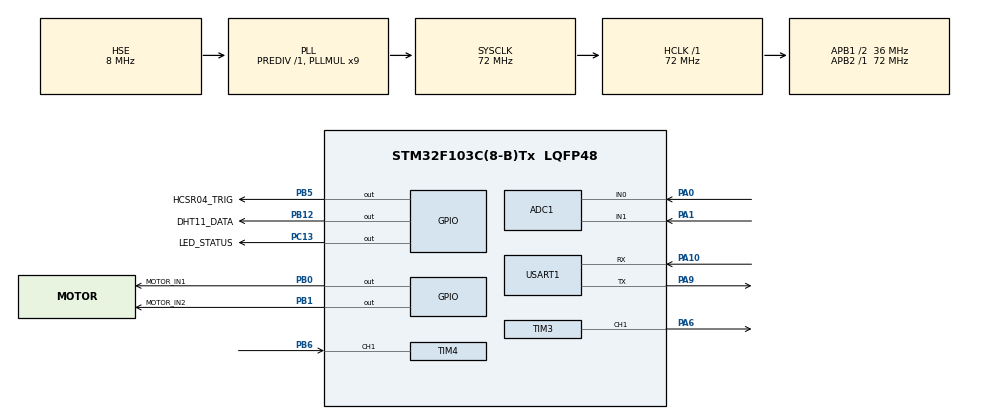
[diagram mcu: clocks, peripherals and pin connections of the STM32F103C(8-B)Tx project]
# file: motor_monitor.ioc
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ADC1.Channel-0\#ChannelRegularConversion=ADC_CHANNEL_0
ADC1.NbrOfConversionFlag=1
ADC1.Rank-0\#ChannelRegularConversion=1
ADC1.SamplingTime-0\#ChannelRegularConversion=ADC_SAMPLETIME_1CYCLE_5
ADC1.master=1
Mcu.Family=STM32F1
Mcu.Name=STM32F103C(8-B)Tx
Mcu.Package=LQFP48
NVIC.PriorityGroup=NVIC_PRIORITYGROUP_4
NVIC.TIM4_IRQn=true\:0\:0\:false\:false\:true\:true\:true\:true
NVIC.USART1_IRQn=true\:0\:0\:false\:false\:true\:true\:true\:true
PA0-WKUP.Signal=ADCx_IN0
PA1.Signal=ADCx_IN1
PA10.Mode=Asynchronous
PA10.Signal=USART1_RX
PA13.Mode=Serial_Wire
PA13.Signal=SYS_JTMS-SWDIO
PA14.Mode=Serial_Wire
PA14.Signal=SYS_JTCK-SWCLK
PA6.Signal=S_TIM3_CH1
PA9.Mode=Asynchronous
PA9.Signal=USART1_TX
PB0.GPIO_Label=MOTOR_IN1
PB0.Signal=GPIO_Output
PB1.GPIO_Label=MOTOR_IN2
PB1.Signal=GPIO_Output
PB12.GPIO_Label=DHT11_DATA
PB12.PinState=GPIO_PIN_SET
PB12.Signal=GPIO_Output
PB5.GPIO_Label=HCSR04_TRIG
PB5.Signal=GPIO_Output
PB6.Signal=S_TIM4_CH1
PC13-TAMPER-RTC.GPIO_Label=LED_STATUS
PC13-TAMPER-RTC.Signal=GPIO_Output
PD0-OSC_IN.Mode=HSE-External-Oscillator
PD0-OSC_IN.Signal=RCC_OSC_IN
PD1-OSC_OUT.Mode=HSE-External-Oscillator
PD1-OSC_OUT.Signal=RCC_OSC_OUT
ProjectManager.HeapSize=0x200
ProjectManager.StackSize=0x400
ProjectManager.TargetToolchain=MDK-ARM V5.32
RCC.ADCPresc=RCC_ADCPCLK2_DIV6
RCC.AHBFreq_Value=72000000
RCC.APB1CLKDivider=RCC_HCLK_DIV2
RCC.APB1Freq_Value=36000000
RCC.APB1TimFreq_Value=72000000
RCC.APB2Freq_Value=72000000
RCC.APB2TimFreq_Value=72000000
RCC.HCLKFreq_Value=72000000
RCC.PLLMUL=RCC_PLL_MUL9
RCC.PLLSourceVirtual=RCC_PLLSOURCE_HSE
RCC.SYSCLKFreq_VALUE=72000000
RCC.SYSCLKSource=RCC_SYSCLKSOURCE_PLLCLK
RCC.USBFreq_Value=72000000
SH.ADCx_IN0.0=ADC1_IN0,IN0
SH.ADCx_IN1.0=ADC1_IN1,IN1
SH.S_TIM3_CH1.0=TIM3_CH1,PWM Generation1 CH1
SH.S_TIM4_CH1.0=TIM4_CH1,Input_Capture1_from_TI1
TIM2.Prescaler=71
TIM3.Channel-PWM\ Generation1\ CH1=TIM_CHANNEL_1
TIM4.Channel-Input_Capture1_from_TI1=TIM_CHANNEL_1
TIM4.Prescaler=71
USART1.VirtualMode=VM_ASYNC
VP_TIM2_VS_ClockSourceINT.Mode=Internal
board=custom

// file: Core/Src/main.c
/* USER CODE BEGIN Header */
/**
  ******************************************************************************
  * @file           : main.c
  * @brief          : Main program body
  ******************************************************************************
  * @attention
  *
  * Copyright (c) 2026 STMicroelectronics.
  * All rights reserved.
  *
  * This software is licensed under terms that can be found in the LICENSE file
  * in the root directory of this software component.
  * If no LICENSE file comes with this software, it is provided AS-IS.
  *
  ******************************************************************************
  */
/* USER CODE END Header */
#include "main.h"

/* USER CODE BEGIN Includes */
#include "logger.h"
#include "app.h"
#include <string.h>
#include "logger.h"
#include "cli.h"
#include "dht11.h"
#include "sensor_manager.h"
#include "fault_manager.h"
#include "light_sensor.h"
#include "hcsr04.h"
#include "distance_manager.h"
#include "acs712.h"

#include "motor_driver.h"
#include "motor_manager.h"
/* USER CODE END Includes */

ADC_HandleTypeDef hadc1;

TIM_HandleTypeDef htim2;
TIM_HandleTypeDef htim3;
TIM_HandleTypeDef htim4;

UART_HandleTypeDef huart1;

void SystemClock_Config(void);
static void MX_GPIO_Init(void);
static void MX_USART1_UART_Init(void);
static void MX_TIM2_Init(void);
static void MX_ADC1_Init(void);
static void MX_TIM3_Init(void);
static void MX_TIM4_Init(void);

int main(void)
{

  /* MCU Configuration--------------------------------------------------------*/

  /* Reset of all peripherals, Initializes the Flash interface and the Systick. */
  HAL_Init();

  /* Configure the system clock */
  SystemClock_Config();

  /* Initialize all configured peripherals */
  MX_GPIO_Init();
  MX_USART1_UART_Init();
  MX_TIM2_Init();
  MX_ADC1_Init();
  MX_TIM3_Init();
  MX_TIM4_Init();
  /* USER CODE BEGIN 2 */
  /* STM32F1 ADC calibration: after HAL_ADC_Init, before ADC reads. */
  if (HAL_ADCEx_Calibration_Start(&hadc1) != HAL_OK)
  {
    Error_Handler();
  }

	Logger_Init(&huart1);

	DHT11_Init(&htim2);

	LightSensor_Init(&hadc1);

	ACS712_Init(&hadc1);

	SensorManager_Init();

	FaultManager_Init();

	MotorDriver_Init(
    &htim3,
    TIM_CHANNEL_1
	);
	MotorManager_Init();

	HCSR04_Init();
	DistanceManager_Init();

  App_Init();

  CLI_Init(&huart1);
  /* USER CODE END 2 */

  /* Infinite loop */
  while (1)
  {

    /* USER CODE BEGIN 3 */
		App_Run();

		SensorManager_Process();

		FaultManager_Process();

		MotorManager_Process();

		DistanceManager_Process();

		CLI_Process();
  }
  /* USER CODE END 3 */
}

void SystemClock_Config(void)
{
  RCC_OscInitTypeDef RCC_OscInitStruct = {0};
  RCC_ClkInitTypeDef RCC_ClkInitStruct = {0};
  RCC_PeriphCLKInitTypeDef PeriphClkInit = {0};

  /** Initializes the RCC Oscillators according to the specified parameters
  * in the RCC_OscInitTypeDef structure.
  */
  RCC_OscInitStruct.OscillatorType = RCC_OSCILLATORTYPE_HSE;
  RCC_OscInitStruct.HSEState = RCC_HSE_ON;
  RCC_OscInitStruct.HSEPredivValue = RCC_HSE_PREDIV_DIV1;
  RCC_OscInitStruct.HSIState = RCC_HSI_ON;
  RCC_OscInitStruct.PLL.PLLState = RCC_PLL_ON;
  RCC_OscInitStruct.PLL.PLLSource = RCC_PLLSOURCE_HSE;
  RCC_OscInitStruct.PLL.PLLMUL = RCC_PLL_MUL9;
  if (HAL_RCC_OscConfig(&RCC_OscInitStruct) != HAL_OK)
  {
    Error_Handler();
  }

  /** Initializes the CPU, AHB and APB buses clocks
  */
  RCC_ClkInitStruct.ClockType = RCC_CLOCKTYPE_HCLK|RCC_CLOCKTYPE_SYSCLK
                              |RCC_CLOCKTYPE_PCLK1|RCC_CLOCKTYPE_PCLK2;
  RCC_ClkInitStruct.SYSCLKSource = RCC_SYSCLKSOURCE_PLLCLK;
  RCC_ClkInitStruct.AHBCLKDivider = RCC_SYSCLK_DIV1;
  RCC_ClkInitStruct.APB1CLKDivider = RCC_HCLK_DIV2;
  RCC_ClkInitStruct.APB2CLKDivider = RCC_HCLK_DIV1;

  if (HAL_RCC_ClockConfig(&RCC_ClkInitStruct, FLASH_LATENCY_2) != HAL_OK)
  {
    Error_Handler();
  }
  PeriphClkInit.PeriphClockSelection = RCC_PERIPHCLK_ADC;
  PeriphClkInit.AdcClockSelection = RCC_ADCPCLK2_DIV6;
  if (HAL_RCCEx_PeriphCLKConfig(&PeriphClkInit) != HAL_OK)
  {
    Error_Handler();
  }
}

static void MX_ADC1_Init(void)
{

  ADC_ChannelConfTypeDef sConfig = {0};

  /** Common config
  */
  hadc1.Instance = ADC1;
  hadc1.Init.ScanConvMode = ADC_SCAN_DISABLE;
  hadc1.Init.ContinuousConvMode = DISABLE;
  hadc1.Init.DiscontinuousConvMode = DISABLE;
  hadc1.Init.ExternalTrigConv = ADC_SOFTWARE_START;
  hadc1.Init.DataAlign = ADC_DATAALIGN_RIGHT;
  hadc1.Init.NbrOfConversion = 1;
  if (HAL_ADC_Init(&hadc1) != HAL_OK)
  {
    Error_Handler();
  }

  /** Configure Regular Channel
  */
  sConfig.Channel = ADC_CHANNEL_0;
  sConfig.Rank = ADC_REGULAR_RANK_1;
  sConfig.SamplingTime = ADC_SAMPLETIME_1CYCLE_5;
  if (HAL_ADC_ConfigChannel(&hadc1, &sConfig) != HAL_OK)
  {
    Error_Handler();
  }

}

static void MX_TIM2_Init(void)
{

  TIM_ClockConfigTypeDef sClockSourceConfig = {0};
  TIM_MasterConfigTypeDef sMasterConfig = {0};

  htim2.Instance = TIM2;
  htim2.Init.Prescaler = 71;
  htim2.Init.CounterMode = TIM_COUNTERMODE_UP;
  htim2.Init.Period = 65535;
  htim2.Init.ClockDivision = TIM_CLOCKDIVISION_DIV1;
  htim2.Init.AutoReloadPreload = TIM_AUTORELOAD_PRELOAD_DISABLE;
  if (HAL_TIM_Base_Init(&htim2) != HAL_OK)
  {
    Error_Handler();
  }
  sClockSourceConfig.ClockSource = TIM_CLOCKSOURCE_INTERNAL;
  if (HAL_TIM_ConfigClockSource(&htim2, &sClockSourceConfig) != HAL_OK)
  {
    Error_Handler();
  }
  sMasterConfig.MasterOutputTrigger = TIM_TRGO_RESET;
  sMasterConfig.MasterSlaveMode = TIM_MASTERSLAVEMODE_DISABLE;
  if (HAL_TIMEx_MasterConfigSynchronization(&htim2, &sMasterConfig) != HAL_OK)
  {
    Error_Handler();
  }

}

static void MX_TIM3_Init(void)
{

  TIM_MasterConfigTypeDef sMasterConfig = {0};
  TIM_OC_InitTypeDef sConfigOC = {0};

  htim3.Instance = TIM3;
  htim3.Init.Prescaler = 0;
  htim3.Init.CounterMode = TIM_COUNTERMODE_UP;
  htim3.Init.Period = 65535;
  htim3.Init.ClockDivision = TIM_CLOCKDIVISION_DIV1;
  htim3.Init.AutoReloadPreload = TIM_AUTORELOAD_PRELOAD_DISABLE;
  if (HAL_TIM_PWM_Init(&htim3) != HAL_OK)
  {
    Error_Handler();
  }
  sMasterConfig.MasterOutputTrigger = TIM_TRGO_RESET;
  sMasterConfig.MasterSlaveMode = TIM_MASTERSLAVEMODE_DISABLE;
  if (HAL_TIMEx_MasterConfigSynchronization(&htim3, &sMasterConfig) != HAL_OK)
  {
    Error_Handler();
  }
  sConfigOC.OCMode = TIM_OCMODE_PWM1;
  sConfigOC.Pulse = 0;
  sConfigOC.OCPolarity = TIM_OCPOLARITY_HIGH;
  sConfigOC.OCFastMode = TIM_OCFAST_DISABLE;
  if (HAL_TIM_PWM_ConfigChannel(&htim3, &sConfigOC, TIM_CHANNEL_1) != HAL_OK)
  {
    Error_Handler();
  }
  HAL_TIM_MspPostInit(&htim3);

}

static void MX_TIM4_Init(void)
{

  TIM_MasterConfigTypeDef sMasterConfig = {0};
  TIM_IC_InitTypeDef sConfigIC = {0};

  htim4.Instance = TIM4;
  htim4.Init.Prescaler = 71;
  htim4.Init.CounterMode = TIM_COUNTERMODE_UP;
  htim4.Init.Period = 65535;
  htim4.Init.ClockDivision = TIM_CLOCKDIVISION_DIV1;
  htim4.Init.AutoReloadPreload = TIM_AUTORELOAD_PRELOAD_DISABLE;
  if (HAL_TIM_IC_Init(&htim4) != HAL_OK)
  {
    Error_Handler();
  }
  sMasterConfig.MasterOutputTrigger = TIM_TRGO_RESET;
  sMasterConfig.MasterSlaveMode = TIM_MASTERSLAVEMODE_DISABLE;
  if (HAL_TIMEx_MasterConfigSynchronization(&htim4, &sMasterConfig) != HAL_OK)
  {
    Error_Handler();
  }
  sConfigIC.ICPolarity = TIM_INPUTCHANNELPOLARITY_RISING;
  sConfigIC.ICSelection = TIM_ICSELECTION_DIRECTTI;
  sConfigIC.ICPrescaler = TIM_ICPSC_DIV1;
  sConfigIC.ICFilter = 0;
  if (HAL_TIM_IC_ConfigChannel(&htim4, &sConfigIC, TIM_CHANNEL_1) != HAL_OK)
  {
    Error_Handler();
  }

}

static void MX_USART1_UART_Init(void)
{

  huart1.Instance = USART1;
  huart1.Init.BaudRate = 115200;
  huart1.Init.WordLength = UART_WORDLENGTH_8B;
  huart1.Init.StopBits = UART_STOPBITS_1;
  huart1.Init.Parity = UART_PARITY_NONE;
  huart1.Init.Mode = UART_MODE_TX_RX;
  huart1.Init.HwFlowCtl = UART_HWCONTROL_NONE;
  huart1.Init.OverSampling = UART_OVERSAMPLING_16;
  if (HAL_UART_Init(&huart1) != HAL_OK)
  {
    Error_Handler();
  }

}

static void MX_GPIO_Init(void)
{
  GPIO_InitTypeDef GPIO_InitStruct = {0};

  /* GPIO Ports Clock Enable */
  __HAL_RCC_GPIOC_CLK_ENABLE();
  __HAL_RCC_GPIOD_CLK_ENABLE();
  __HAL_RCC_GPIOA_CLK_ENABLE();
  __HAL_RCC_GPIOB_CLK_ENABLE();

  /*Configure GPIO pin Output Level */
  HAL_GPIO_WritePin(LED_STATUS_GPIO_Port, LED_STATUS_Pin, GPIO_PIN_RESET);

  /*Configure GPIO pin Output Level */
  HAL_GPIO_WritePin(GPIOB, MOTOR_IN1_Pin|MOTOR_IN2_Pin|HCSR04_TRIG_Pin, GPIO_PIN_RESET);

  /*Configure GPIO pin Output Level */
  HAL_GPIO_WritePin(DHT11_DATA_GPIO_Port, DHT11_DATA_Pin, GPIO_PIN_SET);

  /*Configure GPIO pin : LED_STATUS_Pin */
  GPIO_InitStruct.Pin = LED_STATUS_Pin;
  GPIO_InitStruct.Mode = GPIO_MODE_OUTPUT_PP;
  GPIO_InitStruct.Pull = GPIO_NOPULL;
  GPIO_InitStruct.Speed = GPIO_SPEED_FREQ_LOW;
  HAL_GPIO_Init(LED_STATUS_GPIO_Port, &GPIO_InitStruct);

  /*Configure GPIO pins : MOTOR_IN1_Pin MOTOR_IN2_Pin DHT11_DATA_Pin HCSR04_TRIG_Pin */
  GPIO_InitStruct.Pin = MOTOR_IN1_Pin|MOTOR_IN2_Pin|DHT11_DATA_Pin|HCSR04_TRIG_Pin;
  GPIO_InitStruct.Mode = GPIO_MODE_OUTPUT_PP;
  GPIO_InitStruct.Pull = GPIO_NOPULL;
  GPIO_InitStruct.Speed = GPIO_SPEED_FREQ_LOW;
  HAL_GPIO_Init(GPIOB, &GPIO_InitStruct);

}

/* USER CODE BEGIN 4 */

void HAL_UART_RxCpltCallback(
    UART_HandleTypeDef *huart)
{
    CLI_UART_RxCallback(huart);
}
/* USER CODE END 4 */

void Error_Handler(void)
{
  __disable_irq();
  while (1)
  {
  }
}
